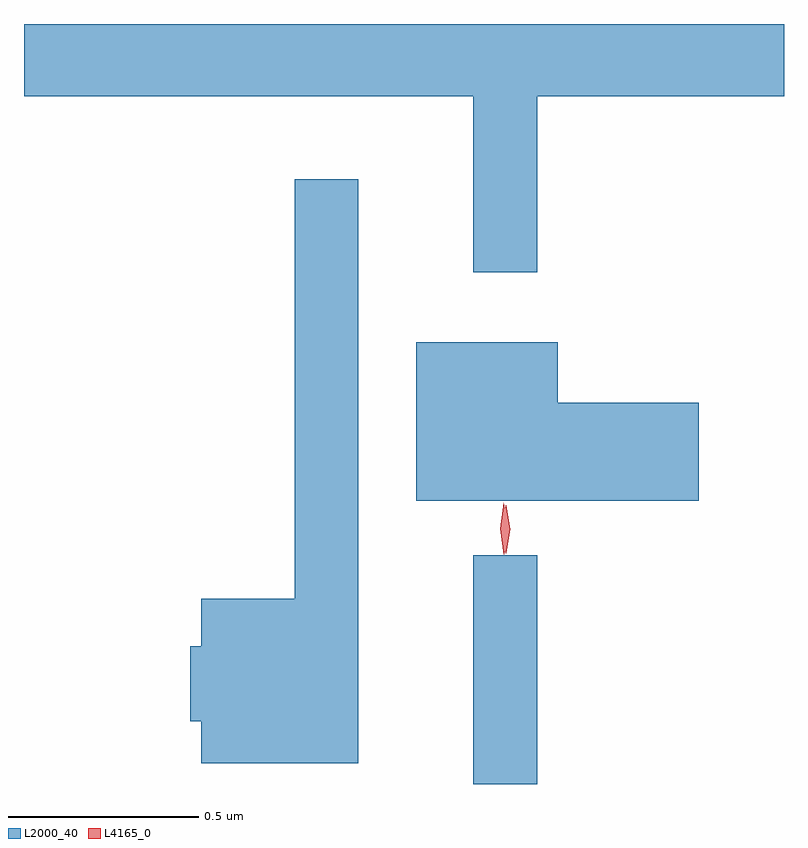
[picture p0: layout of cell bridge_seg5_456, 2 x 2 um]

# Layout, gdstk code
import gdstk
lib = gdstk.Library(unit=1e-6, precision=1e-09)
def R(c, l, rs):  # rectangles x0, y0, x1, y1
    for r in rs: c.add(gdstk.rectangle(r[:2], r[2:], *l))
def P(c, l, *ps):  # polygons
    for p in ps: c.add(gdstk.Polygon(p, *l))
L2000_40 = (2000, 40)
L4165_0 = (4165, 0)

bridge_seg5_456 = lib.new_cell('bridge_seg5_456')
R(bridge_seg5_456, L2000_40, [(237.101,1514.926,237.269,1515.528)])
P(bridge_seg5_456, L2000_40, [(237.269,1516.736),(237.919,1516.736),(237.919,1516.926),(235.919,1516.926),(235.919,1516.736),(237.101,1516.736),(237.101,1516.273),(237.269,1516.273)],
  [(236.799,1516.518),(236.631,1516.518),(236.631,1515.414),(236.386,1515.414),(236.386,1515.289),(236.356,1515.289),(236.356,1515.091),(236.386,1515.091),(236.386,1514.981),(236.799,1514.981)],
  [(237.694,1515.929),(237.324,1515.929),(237.324,1516.089),(236.951,1516.089),(236.951,1515.671),(237.694,1515.671)])
P(bridge_seg5_456, L4165_0, [(237.182,1515.53),(237.172,1515.598),(237.181,1515.666),(237.182,1515.666),(237.182,1515.666),(237.192,1515.598),(237.183,1515.53),(237.183,1515.53)],
  [(237.187,1515.533),(237.178,1515.596),(237.187,1515.659),(237.188,1515.66),(237.188,1515.659),(237.198,1515.596),(237.188,1515.533),(237.188,1515.533)])

lib.write_gds('bridge_seg5_456.gds')
